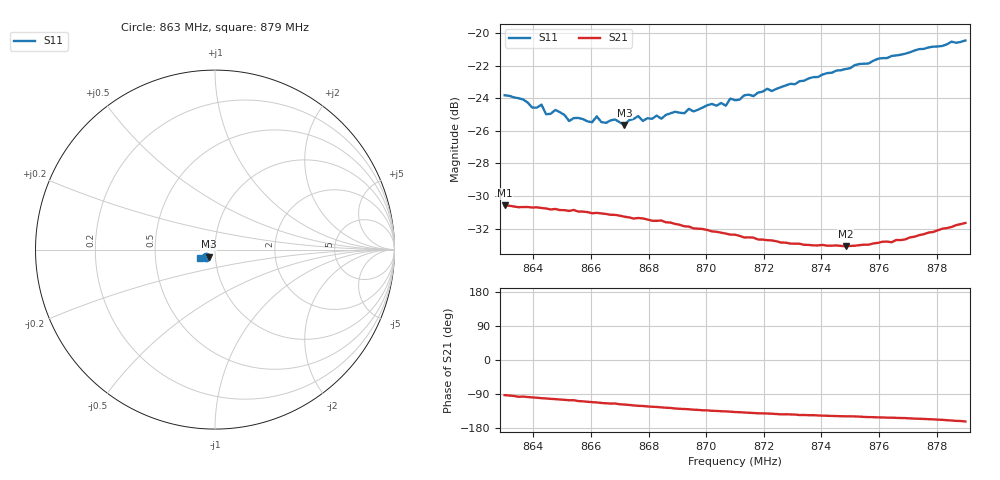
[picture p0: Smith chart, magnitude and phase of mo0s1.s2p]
# HZ S RI R 50
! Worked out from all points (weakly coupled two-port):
!   101 points, 863 MHz to 879 MHz, reference 50 ohm
!   highest |S21| = -30.58 dB at 863 MHz (marker M1); lowest = -33.1 dB at 874.84 MHz (marker M2)
!   lowest |S11| = -25.6 dB at 867.16 MHz (marker M3), VSWR 1.11, Z = 46.6 - j3.72 ohm
!   |S11| at or under -10 dB: start of sweep to end of sweep
!   S12 and S22 are empty: the file has one direction only
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8.63e8  -0.0503 -0.0403  -0.00142 -0.0295  0 0  0 0
8.6364e8  -0.049 -0.0389  -0.00334 -0.0291  0 0  0 0
8.6396e8  -0.0449 -0.0384  -0.00438 -0.0288  0 0  0 0
8.6428e8  -0.0456 -0.0394  -0.00544 -0.0285  0 0  0 0
8.6444e8  -0.0428 -0.0366  -0.00573 -0.0284  0 0  0 0
8.6476e8  -0.0429 -0.0392  -0.00662 -0.0281  0 0  0 0
8.6524e8  -0.0382 -0.0377  -0.00796 -0.0273  0 0  0 0
8.6572e8  -0.037 -0.04  -0.00925 -0.0268  0 0  0 0
8.6604e8  -0.0364 -0.0389  -0.0101 -0.0261  0 0  0 0
8.662e8  -0.0389 -0.0396  -0.0105 -0.026  0 0  0 0
8.6636e8  -0.0367 -0.0387  -0.0111 -0.0257  0 0  0 0
8.6684e8  -0.0369 -0.0399  -0.0116 -0.0251  0 0  0 0
8.6716e8  -0.0338 -0.0398  -0.0126 -0.0242  0 0  0 0
8.6764e8  -0.0353 -0.043  -0.0139 -0.0232  0 0  0 0
8.678e8  -0.0343 -0.0414  -0.014 -0.023  0 0  0 0
8.6828e8  -0.0335 -0.0446  -0.0148 -0.022  0 0  0 0
8.6844e8  -0.0325 -0.0438  -0.0153 -0.0218  0 0  0 0
8.71e8  -0.0356 -0.051  -0.0177 -0.0163  0 0  0 0
8.7372e8  -0.045 -0.0578  -0.0184 -0.0126  0 0  0 0
8.7484e8  -0.0518 -0.0578  -0.0189 -0.0116  0 0  0 0
8.7644e8  -0.0633 -0.0568  -0.0202 -0.0106  0 0  0 0
8.79e8  -0.0827 -0.0466  -0.0249 -0.00798  0 0  0 0
